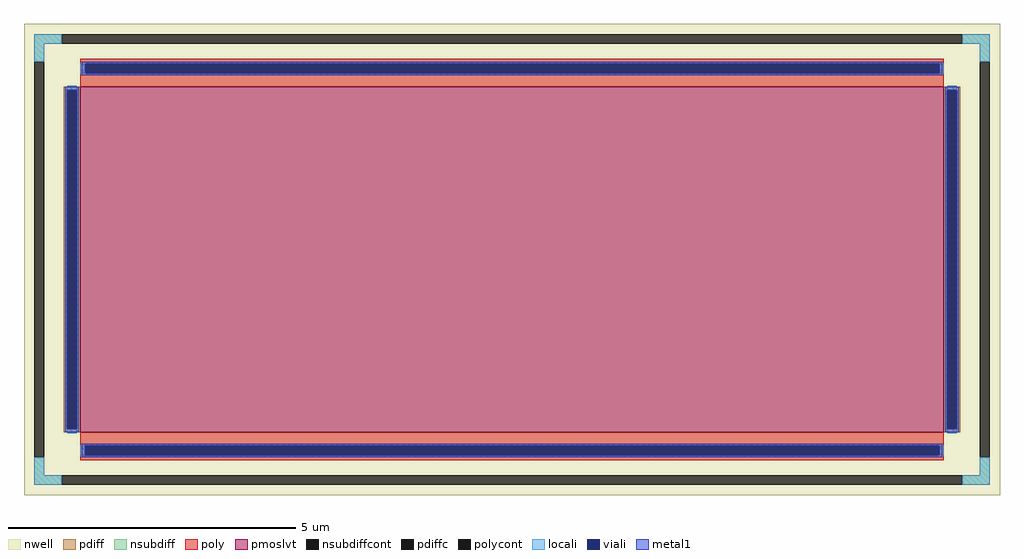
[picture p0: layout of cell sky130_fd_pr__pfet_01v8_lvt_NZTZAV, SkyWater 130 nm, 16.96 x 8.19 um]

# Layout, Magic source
magic
tech sky130A
magscale 1 2
<< nwell >>
rect -1696 -819 1696 819
<< pmoslvt >>
rect -1500 -600 1500 600
<< pdiff >>
rect -1558 588 -1500 600
rect -1558 -588 -1546 588
rect -1512 -588 -1500 588
rect -1558 -600 -1500 -588
rect 1500 588 1558 600
rect 1500 -588 1512 588
rect 1546 -588 1558 588
rect 1500 -600 1558 -588
<< pdiffc >>
rect -1546 -588 -1512 588
rect 1512 -588 1546 588
<< nsubdiff >>
rect -1660 749 -1564 783
rect 1564 749 1660 783
rect -1660 687 -1626 749
rect 1626 687 1660 749
rect -1660 -749 -1626 -687
rect 1626 -749 1660 -687
rect -1660 -783 -1564 -749
rect 1564 -783 1660 -749
<< nsubdiffcont >>
rect -1564 749 1564 783
rect -1660 -687 -1626 687
rect 1626 -687 1660 687
rect -1564 -783 1564 -749
<< poly >>
rect -1500 681 1500 697
rect -1500 647 -1484 681
rect 1484 647 1500 681
rect -1500 600 1500 647
rect -1500 -647 1500 -600
rect -1500 -681 -1484 -647
rect 1484 -681 1500 -647
rect -1500 -697 1500 -681
<< polycont >>
rect -1484 647 1484 681
rect -1484 -681 1484 -647
<< locali >>
rect -1660 749 -1564 783
rect 1564 749 1660 783
rect -1660 687 -1626 749
rect 1626 687 1660 749
rect -1500 647 -1484 681
rect 1484 647 1500 681
rect -1546 588 -1512 604
rect -1546 -604 -1512 -588
rect 1512 588 1546 604
rect 1512 -604 1546 -588
rect -1500 -681 -1484 -647
rect 1484 -681 1500 -647
rect -1660 -749 -1626 -687
rect 1626 -749 1660 -687
rect -1660 -783 -1564 -749
rect 1564 -783 1660 -749
<< viali >>
rect -1484 647 1484 681
rect -1546 -588 -1512 588
rect 1512 -588 1546 588
rect -1484 -681 1484 -647
<< metal1 >>
rect -1496 681 1496 687
rect -1496 647 -1484 681
rect 1484 647 1496 681
rect -1496 641 1496 647
rect -1552 588 -1506 600
rect -1552 -588 -1546 588
rect -1512 -588 -1506 588
rect -1552 -600 -1506 -588
rect 1506 588 1552 600
rect 1506 -588 1512 588
rect 1546 -588 1552 588
rect 1506 -600 1552 -588
rect -1496 -647 1496 -641
rect -1496 -681 -1484 -647
rect 1484 -681 1496 -647
rect -1496 -687 1496 -681
<< properties >>
string FIXED_BBOX -1643 -766 1643 766
string gencell sky130_fd_pr__pfet_01v8_lvt
string library sky130
string parameters w 6.0 l 15.0 m 1 nf 1 diffcov 100 polycov 100 guard 1 glc 1 grc 1 gtc 1 gbc 1 tbcov 100 rlcov 100 topc 1 botc 1 poverlap 0 doverlap 1 lmin 0.35 wmin 0.42 class mosfet compatible {sky130_fd_pr__pfet_01v8  sky130_fd_pr__pfet_01v8_lvt sky130_fd_pr__pfet_01v8_hvt  sky130_fd_pr__pfet_g5v0d10v5} full_metal 1 viasrc 100 viadrn 100 viagate 100 viagb 0 viagr 0 viagl 0 viagt 0 ad {int((nf+1)/2) * W/nf * 0.29} as {int((nf+2)/2) * W/nf * 0.29} pd {2*int((nf+1)/2) * (W/nf + 0.29)} ps {2*int((nf+2)/2) * (W/nf + 0.29)} nrd {0.29 / W} nrs {0.29 / W} sa 0 sb 0 sd 0 mult 1
string sky130_fd_pr__pfet_01v8_lvt_NZTZAV parameters
<< end >>
